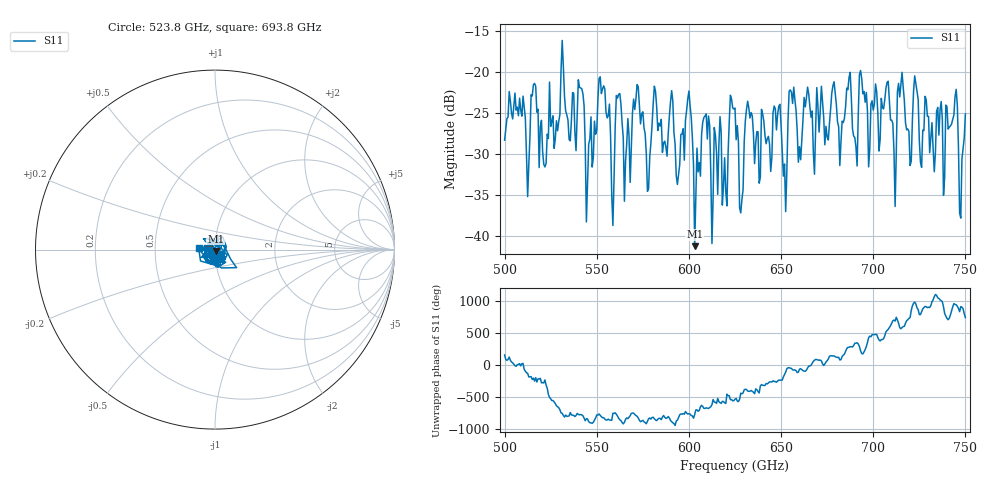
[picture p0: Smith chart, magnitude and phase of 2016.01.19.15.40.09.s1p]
!Created with skrf (http://scikit-rf.org).
# GHz S RI R 50.0
!freq ReS11 ImS11
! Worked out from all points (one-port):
!   401 points, 500 GHz to 750 GHz, reference 50 ohm
!   lowest |S11| = -41.3 dB at 603.1 GHz (marker M1), VSWR 1.02, Z = 50.5 - j0.741 ohm
!   |S11| at or under -10 dB: start of sweep to end of sweep
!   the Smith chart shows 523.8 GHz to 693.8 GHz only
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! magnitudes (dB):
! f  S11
! 500 GHz  -28.3
! 512.5 GHz  -35.2
! 515.6 GHz  -21.5
! 521.9 GHz  -31.6
! 531.2 GHz  -16.1
! 541.2 GHz  -21.9
! 545 GHz  -33.3
! 552.5 GHz  -22.6
! 558.8 GHz  -38.7
! 562.5 GHz  -22.6
! 578.1 GHz  -34.2
! 590.6 GHz  -22.2
! 593.8 GHz  -33.7
! 600 GHz  -22.3
! 603.1 GHz  -41.3
! 609.4 GHz  -25.1
! 619.4 GHz  -30.5
! 625 GHz  -24.4
! 628.1 GHz  -37.2
! 632.5 GHz  -24.4
! 651.9 GHz  -31.2
! 656.2 GHz  -23.8
! 660 GHz  -29.1
! 687.5 GHz  -20.0
! 718.8 GHz  -26.9
! 744.4 GHz  -23.0
! 747.5 GHz  -37.8
! 750 GHz  -25.1
